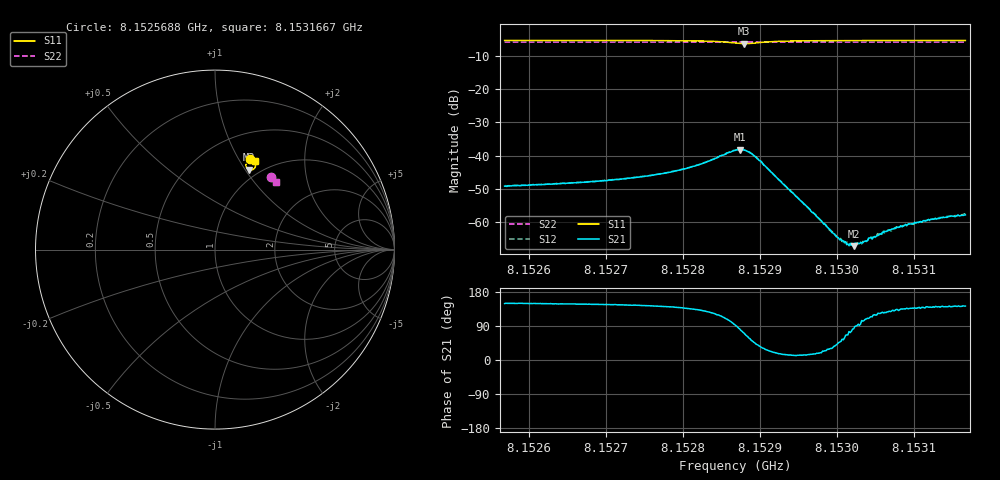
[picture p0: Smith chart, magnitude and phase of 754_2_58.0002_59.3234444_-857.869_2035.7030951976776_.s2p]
#  HZ  S  RI  R  50.00
! Rohde & Schwarz Vector Network Analyzer
! Rohde-Schwarz,ZNB20-2Port,1311601062101988,3.16
! Created: UTC 3/21/2024, 1:24:07 AM
! freq[Hz]  re:S11  im:S11  re:S21  im:S21  re:S12  im:S12  re:S22  im:S22
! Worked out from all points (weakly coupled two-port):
!   401 points, 8.1525688 GHz to 8.1531667 GHz, reference 50 ohm
!   highest |S21| = -38.23 dB at 8.1528737 GHz (marker M1); lowest = -67.3 dB at 8.1530217 GHz (marker M2)
!   lowest |S11| = -6.3 dB at 8.1528797 GHz (marker M3), VSWR 2.87, Z = 44.9 + j52.1 ohm
!   |S11| at or under -10 dB: nowhere
!   |S22| runs from -5.9 to -5.8 dB; largest |S21 - S12| = 0.00033
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8.15256883e9  0.1939 0.5045  -0.00296 0.00178  -0.00298 0.00182  0.3133 0.4035
8.15266897e9  0.2026 0.5007  -0.00332 0.00212  -0.00333 0.00218  0.3183 0.3993
8.15271829e9  0.2077 0.4982  -0.00361 0.00248  -0.00362 0.00254  0.3209 0.3974
8.15276911e9  0.2141 0.4939  -0.00412 0.00322  -0.00411 0.00329  0.3234 0.3948
8.15280049e9  0.2193 0.4891  -0.00456 0.00422  -0.00457 0.0043  0.3249 0.3935
8.15281992e9  0.223 0.4835  -0.00487 0.00531  -0.00483 0.00542  0.3259 0.3924
8.15286775e9  0.2121 0.4466  -0.000582 0.0119  -0.000427 0.0121  0.327 0.3893
8.15287373e9  0.2017 0.4433  0.00167 0.0121  0.00179 0.0122  0.3269 0.3891
8.15287971e9  0.1901 0.4447  0.00404 0.0114  0.00424 0.0114  0.3268 0.3891
8.15288868e9  0.1766 0.4554  0.00661 0.0085  0.00667 0.00861  0.3268 0.3895
8.15290063e9  0.1723 0.4732  0.00681 0.00481  0.00679 0.00458  0.3276 0.3895
8.15296789e9  0.198 0.4974  0.00134 0.000367  0.00138 0.000358  0.3319 0.3874
8.15300077e9  0.2046 0.4975  0.00043 0.0004  0.000431 0.0004  0.3337 0.386
8.15300825e9  0.2057 0.4975  0.000305 0.000409  0.000322 0.000441  0.3341 0.3858
8.15301572e9  0.207 0.4972  0.000112 0.000423  0.00018 0.000431  0.3346 0.3854
8.1530217e9  0.2077 0.497  5.92e-05 0.000427  5.21e-05 0.000461  0.3349 0.3851
8.15303664e9  0.2097 0.4968  -0.000152 0.000487  -0.000137 0.000509  0.3356 0.3845
8.15305458e9  0.2119 0.4962  -0.000349 0.000538  -0.000351 0.000531  0.3364 0.3837
8.15306803e9  0.2134 0.4958  -0.000478 0.000591  -0.000474 0.000583  0.3371 0.3831
8.15308298e9  0.2148 0.4953  -0.000615 0.000621  -0.000598 0.000628  0.3378 0.3824
8.15312184e9  0.2186 0.4942  -0.000834 0.000712  -0.000849 0.000704  0.3396 0.3808
8.15316668e9  0.2223 0.4928  -0.00101 0.00078  -0.00102 0.000847  0.3416 0.379
